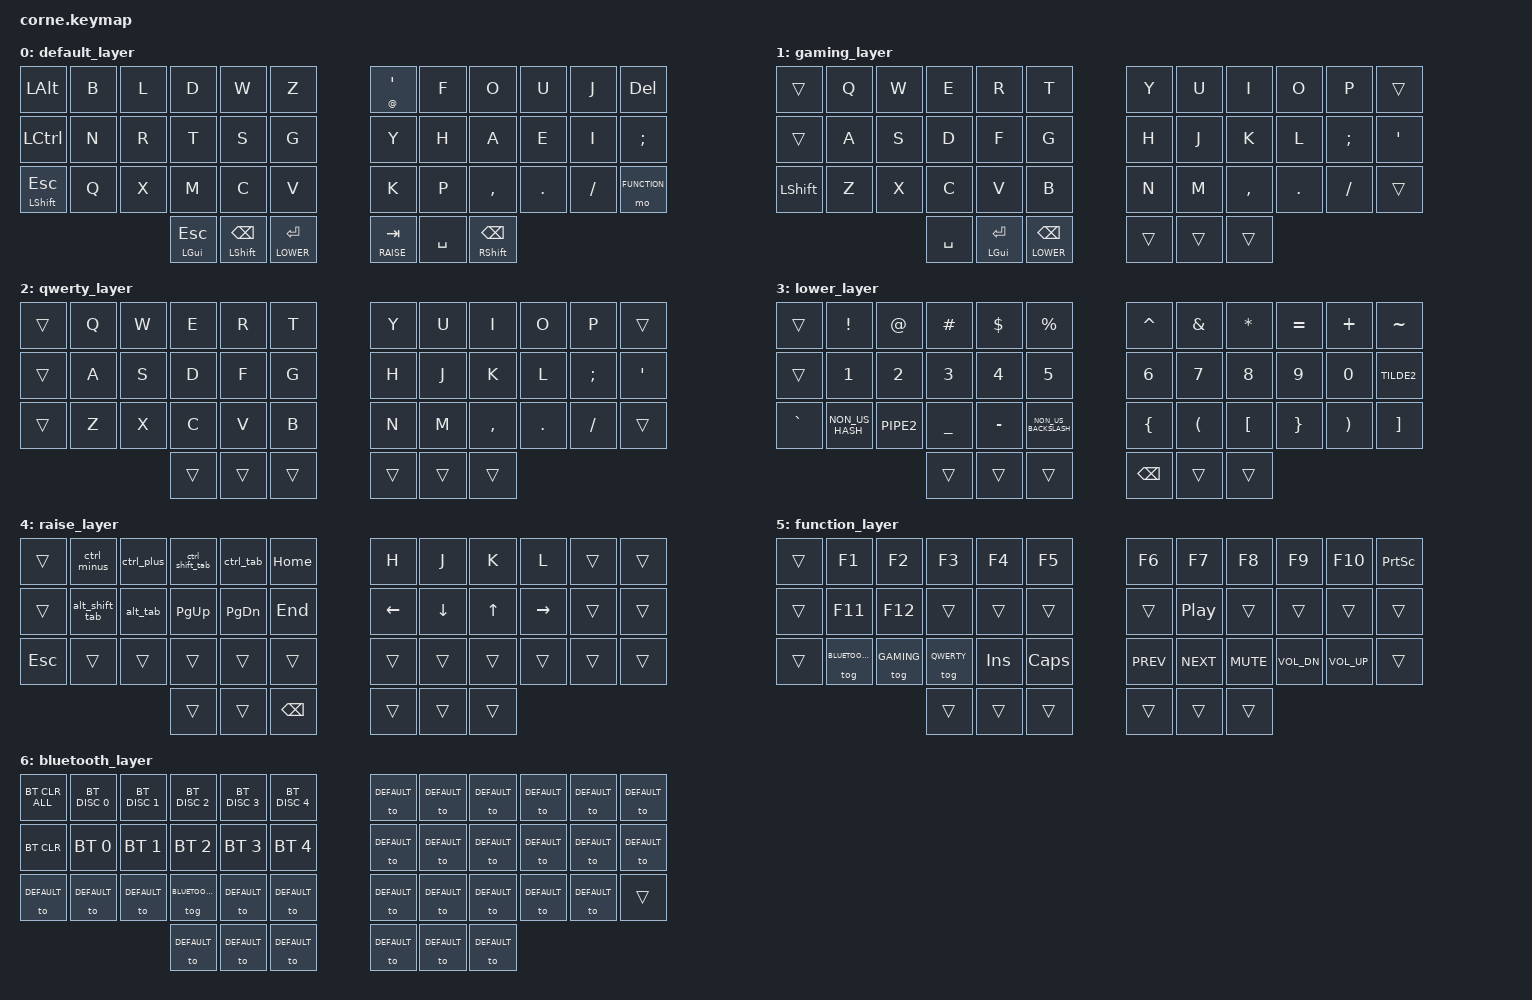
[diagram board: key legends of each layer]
/*
 * Copyright (c) 2020 The ZMK Contributors
 *
 * SPDX-License-Identifier: MIT
 */

#include <behaviors.dtsi>
#include <dt-bindings/zmk/keys.h>
#include <dt-bindings/zmk/bt.h>

#define DEFAULT 0
#define GAMING 1
#define QWERTY 2
#define LOWER 3
#define RAISE 4
#define FUNCTION 5
#define BLUETOOTH 6

/{
            behaviors {
                pht: positional_hold_tap {
                    compatible = "zmk,behavior-hold-tap";
                    #binding-cells = <2>;
                    flavor = "hold-preferred";
                    tapping-term-ms = <170>;
                    quick-tap-ms = <180>;
                    bindings = <&kp>, <&kp>;
                    hold-trigger-key-positions = <1>;    // <---[[the W key]]
                };
            };

        macros {
                ctrl_tab: ctrl_tab {
                        compatible = "zmk,behavior-macro";
                        #binding-cells = <0>;
                        bindings
                        = <&macro_press &kp LCTRL>
                        , <&macro_tap &kp TAB>
                        , <&macro_release &kp LCTRL>
                        ;
                };

                ctrl_shift_tab: ctrl_shift_tab {
                        compatible = "zmk,behavior-macro";
                        #binding-cells = <0>;
                        bindings
                        = <&macro_press &kp LCTRL &kp LSHFT>
                        , <&macro_tap &kp TAB>
                        , <&macro_release &kp LCTRL &kp LSHFT>
                        ;
                };

                alt_tab: alt_tab {
                        compatible = "zmk,behavior-macro";
                        #binding-cells = <0>;
                        bindings
                        = <&macro_press &kp LALT>
                        , <&macro_tap &kp TAB>
                        , <&macro_release &kp LALT>
                        ;
                };

                alt_shift_tab: alt_shift_tab {
                        compatible = "zmk,behavior-macro";
                        #binding-cells = <0>;
                        bindings
                        = <&macro_press &kp LALT &kp LSHFT>
                        , <&macro_tap &kp TAB>
                        , <&macro_release &kp LALT &kp LSHFT>
                        ;
                };

                ctrl_plus: ctrl_plus {
                        compatible = "zmk,behavior-macro";
                        #binding-cells = <0>;
                        bindings
                        = <&macro_press &kp LCTRL &kp EQUAL>
                        , <&macro_release &kp LCTRL &kp EQUAL>
                        ;
                };

                ctrl_minus: ctrl_minus {
                        compatible = "zmk,behavior-macro";
                        #binding-cells = <0>;
                        bindings
                        = <&macro_press &kp LCTRL &kp MINUS>
                        , <&macro_release &kp LCTRL &kp MINUS>
                        ;
                };
        };
};



/ {
        keymap {
                compatible = "zmk,keymap";

                default_layer {
// -----------------------------------------------------------------------------------------
// |  ALT |  B  |  L  |  D  |  W  |  Z  |   |  '  |  F  |  O  |  U  |  J  |  DEL  |
// | CTRL |  N  |  R  |  T  |  S  |  G  |   |  Y  |  H  |  A  |  E  |  I  |  ;    |
// |  ESC |  Q  |  X  |  M  |  C  |  V  |   |  K  |  P  |  ,  |  .  |  /  |  Fn   |
//    LShift | GUI / Ent | LWR / Backspace |   |RSE / Tab | SPC | RCTRL / Esc  |
                        bindings = <
   &kp LALT   &kp B &kp L &kp D &kp W &kp Z   &pht AT SQT &kp F   &kp O   &kp U  &kp J   &kp DEL
   &kp LCTRL &kp N &kp R &kp T &kp S &kp G   &kp Y   &kp H   &kp A   &kp E  &kp I   &kp SEMI
   &mt LSHFT ESC   &kp Q &kp X &kp M &kp C &kp V   &kp K   &kp P   &kp COMMA &kp DOT &kp FSLH  &mo FUNCTION
        &mt LGUI ESC  &mt LSHFT BKSP &lt LOWER RET   &lt RAISE TAB &kp SPACE &mt RSHFT BKSP
                        >;
                };
                gaming_layer {
// -----------------------------------------------------------------------------------------
// | ALT  |  Q  |  W  |  E  |  R  |  T  |   |  Y  |  U  |  I  |  O  |  P  |  [   |
// | CTRL  |  A  |  S  |  D  |  F  |  G  |   |  H  |  J  |  K  |  L  |  ;  |  '  |
// | ESC   |  Z  |  X  |  C  |  V  |  B  |   |  N  |  M  |  ,  |  .  |  /  |  SHFT |
//                    | SHFT| GUI | LWR |   |RSE  | SPC | RCTRL|
                        bindings = <
   &trans  &kp Q &kp W &kp E &kp R &kp T   &kp Y &kp U   &kp I   &kp O  &kp P   &trans
   &trans &kp A &kp S &kp D &kp F &kp G   &kp H &kp J   &kp K   &kp L  &kp SCLN &kp SQT
   &kp LSHFT &kp Z &kp X &kp C &kp V &kp B   &kp N &kp M   &kp COMMA &kp DOT &kp SLASH &trans
                &kp SPACE  &mt LGUI RET  &lt LOWER BKSP    &trans  &trans  &trans
                        >;
                };
                qwerty_layer {
// -----------------------------------------------------------------------------------------
// | ALT  |  Q  |  W  |  E  |  R  |  T  |   |  Y  |  U  |  I  |  O  |  P  |  DEL   |
// | CTRL  |  A  |  S  |  D  |  F  |  G  |   |  H  |  J  |  K  |  L  |  ;  |  '  |
// | ESC   |  Z  |  X  |  C  |  V  |  B  |   |  N  |  M  |  ,  |  .  |  /  |  SHFT |
//    LShift | GUI / Ent | LWR / Backspace |   |RSE / Tab | SPC | RCTRL / Esc  |
                        bindings = <
   &trans  &kp Q &kp W &kp E &kp R &kp T  &kp Y &kp U   &kp I   &kp O  &kp P   &trans
   &trans &kp A &kp S &kp D &kp F &kp G   &kp H &kp J   &kp K   &kp L  &kp SCLN &kp SQT
   &trans &kp Z &kp X &kp C &kp V &kp B   &kp N &kp M   &kp COMMA &kp DOT &kp SLASH &trans
                &trans  &trans &trans     &trans &trans &trans
                        >;
                };
                lower_layer {
// -----------------------------------------------------------------------------------------
// |      |  !  |  "  |  3  |  4  |  5  |   |  6  |  7  |  8  |  9  |  0  |    |
// |      |  1  |  2  |  3  |  4  |  5  |   |  6  |  7  |  8  |            9  |  0  |    |
// |      |  ~  |  `  |  #  |  |  |  \  |   |  [  |  {  |     |     |  ]  |  }  |
//                     |     |     |     |   |     |     |     |
                        bindings = <
   &trans    &kp EXCL  &kp AT  &kp HASH  &kp DLLR  &kp PRCNT    &kp CARET  &kp AMPS  &kp ASTRK &kp EQUAL  &kp PLUS   &kp TILDE
   &trans   &kp N1    &kp N2  &kp N3    &kp N4   &kp N5   &kp N6 &kp N7  &kp N8    &kp N9    &kp N0    &kp TILDE2
   &kp GRAVE   &kp NON_US_HASH   &kp PIPE2    &kp UNDER   &kp MINUS &kp NON_US_BACKSLASH &kp LBRC  &kp LPAR &kp  LBKT &kp RBRC &kp RPAR  &kp  RBKT
                                   &trans  &trans     &trans     &kp BKSP  &trans  &trans
                        >;
                };

                raise_layer {
// -----------------------------------------------------------------------------------------
// |ZOOM- |ZOOM+|     |     |     |PGUP |   |     |     |     |     |     |    |
// |HOME  |END  |     |     |PGDN |     |   |LEFT |DOWN |  UP |RGHT |     |    |
// |      |  ~  |  `  |     |     |     |   |PREV |NEXT |MUTE |VLDN |VLUP |    |
//                    |     |     |     |   |     |     |     |
                        bindings = <
   &trans    &ctrl_minus   &ctrl_plus &ctrl_shift_tab  &ctrl_tab &kp HOME  &kp H   &kp J  &kp K  &kp L &trans  &trans
   &trans    &alt_shift_tab      &alt_tab    &kp PAGE_UP  &kp PAGE_DOWN  &kp END   &kp LEFT_ARROW &kp DOWN_ARROW &kp UP_ARROW  &kp RIGHT_ARROW &trans &trans
   &kp ESC   &trans   &trans    &trans   &trans &trans            &trans  &trans &trans &trans &trans &trans
                                        &trans   &trans  &kp BKSP    &trans  &trans  &trans
                        >;
                };

                function_layer {
// -----------------------------------------------------------------------------------------
// |      |  F1 |  F2 |  F3 |  F4 |  F5 |F6   |  F7 |  F8 |  F9  |  F10|     |    |
// |      |  F11|  F12| gme |     |     |KPINS|KP_+ |   |   |   |   |    |
// |      | SLP |     |     |     |CAPS |KP-> |KP-> |  |                          |
//                    |     |     |     |     |     |     |     |
                        bindings = <
        &trans  &kp  F1  &kp F2 &kp F3 &kp F4 &kp F5 &kp F6   &kp F7 &kp F8  &kp F9 &kp F10 &kp PRINTSCREEN
        &trans  &kp F11   &kp F12 &trans &trans   &trans      &trans &kp C_PP &trans  &trans &trans &trans
        &trans  &tog BLUETOOTH  &tog GAMING &tog QWERTY   &kp INSERT   &kp CAPS   &kp C_PREV &kp C_NEXT  &kp C_MUTE &kp C_VOL_DN &kp C_VOL_UP &trans
                             &trans     &trans       &trans      &trans  &trans   &trans
                        >;
                };
                bluetooth_layer {
                        bindings = <
   &bt BT_CLR_ALL   &bt BT_DISC 0 &bt BT_DISC 1 &bt BT_DISC 2 &bt BT_DISC 3 &bt BT_DISC 4         &to DEFAULT   &to DEFAULT   &to DEFAULT &to DEFAULT    &to DEFAULT &to DEFAULT
   &bt BT_CLR &bt BT_SEL 0 &bt BT_SEL 1 &bt BT_SEL 2 &bt BT_SEL 3 &bt BT_SEL 4   &to DEFAULT &to DEFAULT &to DEFAULT &to DEFAULT &to DEFAULT &to DEFAULT
   &to DEFAULT    &to DEFAULT       &to DEFAULT       &tog BLUETOOTH      &to DEFAULT       &to DEFAULT         &to DEFAULT   &to DEFAULT   &to DEFAULT &to DEFAULT    &to DEFAULT &trans
                                    &to DEFAULT     &to DEFAULT    &to DEFAULT      &to DEFAULT  &to DEFAULT   &to DEFAULT
                        >;
                };
        };
};
